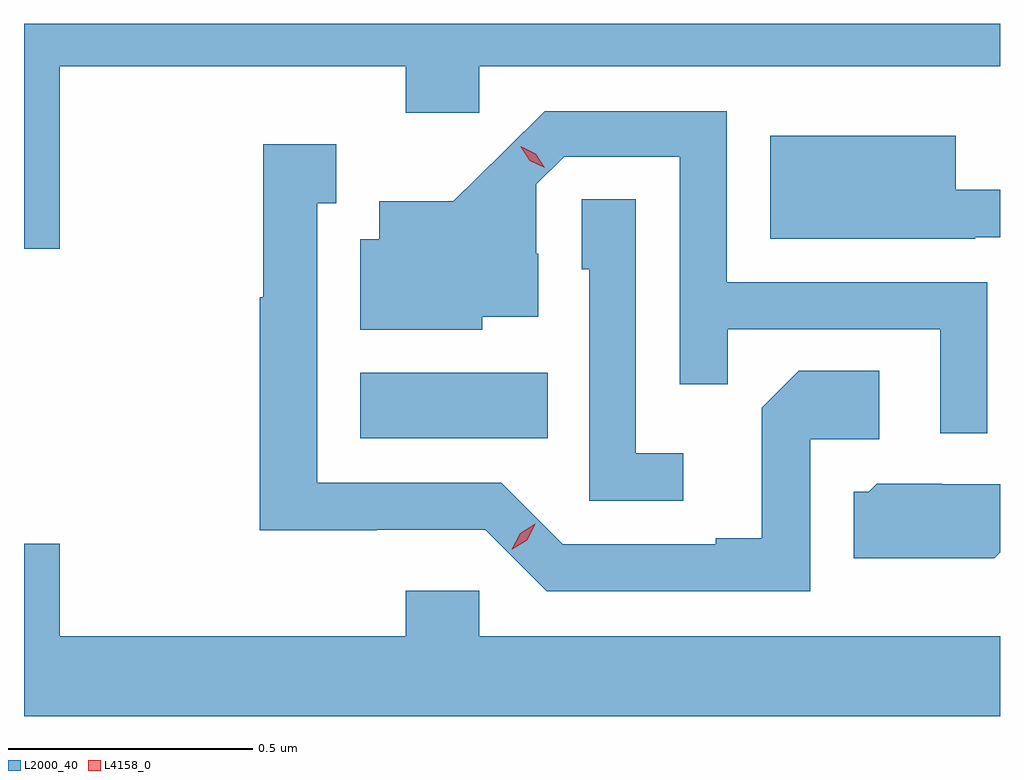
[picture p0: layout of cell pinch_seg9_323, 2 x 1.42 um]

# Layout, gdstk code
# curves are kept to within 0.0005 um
import gdstk
lib = gdstk.Library(unit=1e-6, precision=1e-09)
def R(c, l, rs):  # rectangles x0, y0, x1, y1
    for r in rs: c.add(gdstk.rectangle(r[:2], r[2:], *l))
def P(c, l, *ps):  # polygons
    for p in ps: c.add(gdstk.Polygon(p, *l))
L2000_40 = (2000, 40)
L4158_0 = (4158, 0)

pinch_seg9_323 = lib.new_cell('pinch_seg9_323')
R(pinch_seg9_323, L2000_40, [(609.344,1179.674,609.728,1179.808)])
P(pinch_seg9_323, L2000_40, [(608.728,1180.436),(609.437,1180.436),(609.437,1180.341),(609.588,1180.341),(609.588,1180.436),(610.655,1180.436),(610.655,1180.523),(608.655,1180.523),(608.655,1180.062),(608.728,1180.062)],
  [(610.629,1179.993),(610.095,1179.993),(610.095,1180.344),(609.722,1180.344),(609.535,1180.159),(609.383,1180.159),(609.383,1180.081),(609.344,1180.081),(609.344,1179.896),(609.594,1179.896),(609.594,1179.923),(609.709,1179.923),(609.709,1180.052),(609.705,1180.052),(609.705,1180.194),(609.762,1180.251),(609.999,1180.251),(609.999,1179.784),(610.097,1179.784),(610.097,1179.897),(610.533,1179.897),(610.533,1179.684),(610.629,1179.684)],
  [(610.604,1180.086),(610.655,1180.086),(610.655,1180.183),(610.564,1180.183),(610.564,1180.294),(610.184,1180.294),(610.184,1180.082),(610.604,1180.082)],
  [(610.266,1179.672),(610.408,1179.672),(610.408,1179.812),(610.243,1179.812),(610.167,1179.736),(610.167,1179.469),(610.073,1179.469),(610.073,1179.456),(609.759,1179.456),(609.633,1179.582),(609.256,1179.582),(609.256,1180.155),(609.295,1180.155),(609.295,1180.276),(609.145,1180.276),(609.145,1179.963),(609.138,1179.963),(609.138,1179.485),(609.378,1179.485),(609.378,1179.486),(609.6,1179.486),(609.726,1179.36),(610.266,1179.36)],
  [(610.006,1179.643),(609.909,1179.643),(609.909,1180.163),(609.798,1180.163),(609.798,1180.02),(609.813,1180.02),(609.813,1179.546),(610.006,1179.546)],
  [(610.655,1179.44),(610.655,1179.579),(610.536,1179.579),(610.536,1179.58),(610.402,1179.58),(610.386,1179.564),(610.355,1179.564),(610.355,1179.428),(610.643,1179.428)],
  [(610.655,1179.268),(609.588,1179.268),(609.588,1179.361),(609.437,1179.361),(609.437,1179.268),(608.728,1179.268),(608.728,1179.457),(608.655,1179.457),(608.655,1179.104),(610.655,1179.104)])
P(pinch_seg9_323, L4158_0, [(609.722,1180.228),(609.691,1180.242),(609.673,1180.271),(609.673,1180.272),(609.673,1180.272),(609.704,1180.257),(609.722,1180.228),(609.722,1180.228)],
  [(609.654,1179.446),(609.654,1179.446),(609.672,1179.479),(609.703,1179.498),(609.703,1179.498),(609.703,1179.498),(609.686,1179.465),(609.655,1179.446)])

lib.write_gds('pinch_seg9_323.gds')
